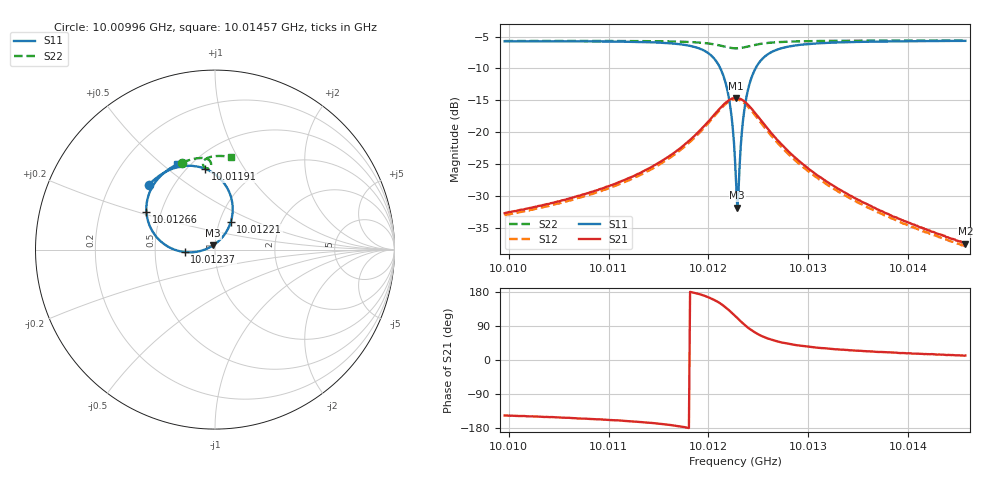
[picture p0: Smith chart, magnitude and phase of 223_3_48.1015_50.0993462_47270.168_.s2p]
#  HZ  S  RI  R  50.00
! Rohde & Schwarz Vector Network Analyzer
! Rohde-Schwarz,ZNB20-2Port,1311601062101988,3.16
! Created: UTC 12/23/2023, 3:57:00 AM
! freq[Hz]  re:S11  im:S11  re:S21  im:S21  re:S12  im:S12  re:S22  im:S22
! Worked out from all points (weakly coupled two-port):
!   401 points, 10.00996 GHz to 10.01457 GHz, reference 50 ohm
!   highest |S21| = -14.61 dB at 10.01228 GHz (marker M1); lowest = -37.4 dB at 10.01457 GHz (marker M2)
!   lowest |S11| = -31.8 dB at 10.01229 GHz (marker M3), VSWR 1.05, Z = 48.9 + j2.29 ohm
!   |S11| at or under -10 dB: 10.01212 GHz to 10.01247 GHz (351.5 kHz wide, 0.00351 % of centre)
!   |S22| runs from -6.8 to -5.6 dB; largest |S21 - S12| = 0.0093
!   S11 on the Smith chart (normalised r, x): 10.00996 GHz: 0.37, +0.36; 10.01191 GHz: 0.60, +0.68; 10.01221 GHz: 1.13, +0.36; 10.01237 GHz: 0.71, -0.02; 10.01266 GHz: 0.42, +0.21; 10.01457 GHz: 0.43, +0.56
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1.0009958e10  -0.3685 0.3613  -0.0193 -0.0128  -0.018 -0.0134  -0.1845 0.4846
1.0010731e10  -0.3128 0.4098  -0.0292 -0.0138  -0.0273 -0.0148  -0.1348 0.5014
1.0011504e10  -0.2065 0.4599  -0.0565 -0.0117  -0.0537 -0.0143  -0.0779 0.5105
1.0011908e10  -0.0556 0.4504  -0.1014 0.0109  -0.0986 0.0054  -0.0392 0.503
1.0012023e10  0.0221 0.4015  -0.1219 0.038  -0.1205 0.0302  -0.0272 0.4927
1.0012104e10  0.0771 0.325  -0.1327 0.0713  -0.1327 0.0629  -0.022 0.4802
1.0012162e10  0.0984 0.2389  -0.13 0.1058  -0.1318 0.0973  -0.0227 0.4688
1.0012208e10  0.0885 0.1558  -0.1168 0.1354  -0.1203 0.127  -0.0276 0.46
1.0012243e10  0.0586 0.0919  -0.0991 0.1556  -0.1029 0.1479  -0.034 0.455
1.0012266e10  0.0276 0.0541  -0.0839 0.166  -0.0872 0.1594  -0.0393 0.4531
1.0012277e10  0.00956 0.038  -0.0754 0.17  -0.0788 0.1637  -0.0422 0.4527
1.0012289e10  -0.0106 0.0234  -0.0664 0.1736  -0.0698 0.1671  -0.0449 0.4527
1.00123e10  -0.0324 0.0108  -0.0568 0.1761  -0.0612 0.1696  -0.0478 0.453
1.0012312e10  -0.0546 0.000898  -0.0475 0.1775  -0.052 0.1712  -0.0504 0.4538
1.0012335e10  -0.1005 -0.012  -0.0286 0.1777  -0.0338 0.1717  -0.0555 0.4559
1.001237e10  -0.1687 -0.0139  -0.00292 0.1719  -0.00817 0.1662  -0.0617 0.4611
1.0012416e10  -0.2461 0.00839  0.0234 0.1564  0.0179 0.1513  -0.0661 0.4698
1.0012474e10  -0.3138 0.057  0.0441 0.1325  0.0385 0.1284  -0.0669 0.4809
1.0012658e10  -0.3819 0.2078  0.0578 0.0726  0.0524 0.0713  -0.0532 0.5036
1.0013039e10  -0.3501 0.3488  0.0409 0.0276  0.0376 0.028  -0.0184 0.5181
1.0013812e10  -0.2713 0.4377  0.0213 0.00769  0.0198 0.0086  0.0395 0.5213
1.0014574e10  -0.2099 0.4761  0.0131 0.00277  0.0124 0.00339  0.0907 0.5162
